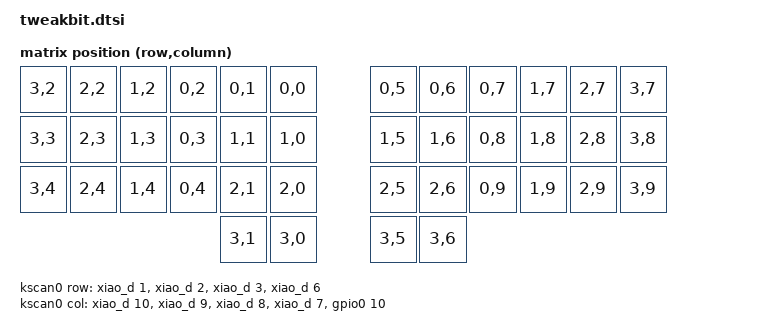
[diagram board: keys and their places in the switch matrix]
#include <dt-bindings/zmk/matrix_transform.h>
#include <input/processors.dtsi>
#include <dt-bindings/zmk/input_transform.h>

/ {
    chosen {
        zmk,kscan = &kscan0;
        zmk,matrix_transform = &default_transform;
    };

    default_transform: keymap_transform_0 {
        compatible = "zmk,matrix-transform";
        columns = <10>;
        rows = <4>;
        map = <
            RC(3,2) RC(2,2) RC(1,2) RC(0,2) RC(0,1) RC(0,0)     RC(0,5) RC(0,6) RC(0,7) RC(1,7) RC(2,7) RC(3,7)
            RC(3,3) RC(2,3) RC(1,3) RC(0,3) RC(1,1) RC(1,0)     RC(1,5) RC(1,6) RC(0,8) RC(1,8) RC(2,8) RC(3,8)
            RC(3,4) RC(2,4) RC(1,4) RC(0,4) RC(2,1) RC(2,0)     RC(2,5) RC(2,6) RC(0,9) RC(1,9) RC(2,9) RC(3,9)
                                            RC(3,1) RC(3,0)     RC(3,5) RC(3,6)
        >;
    };
    
    kscan0: kscan {
        compatible = "zmk,kscan-gpio-matrix";
        label = "KSCAN";
        diode-direction = "col2row";
            row-gpios
                = <&xiao_d 1 (GPIO_ACTIVE_HIGH | GPIO_PULL_DOWN)> 
                , <&xiao_d 2 (GPIO_ACTIVE_HIGH | GPIO_PULL_DOWN)> 
                , <&xiao_d 3 (GPIO_ACTIVE_HIGH | GPIO_PULL_DOWN)> 
                , <&xiao_d 6 (GPIO_ACTIVE_HIGH | GPIO_PULL_DOWN)> 			
                ;
            col-gpios
                = <&xiao_d 10 GPIO_ACTIVE_HIGH>
                , <&xiao_d 9 GPIO_ACTIVE_HIGH> 
                , <&xiao_d 8 GPIO_ACTIVE_HIGH> 
                , <&xiao_d 7 GPIO_ACTIVE_HIGH> 
                , <&gpio0 10 GPIO_ACTIVE_HIGH>
                ; 
    };

    //left hand trackball
    split_inputs {
        #address-cells = <1>;
        #size-cells = <0>;

        trackball_peripheral_split: trackball_peripheral_split@0 {
            compatible = "zmk,input-split";
            reg = <0>;
        };
    };

    trackball_peripheral_listener: trackball_peripheral_listener {
        compatible = "zmk,input-listener";
        status = "disabled";
        device = <&trackball_peripheral_split>;
        input-processors =
            <&zip_xy_transform INPUT_TRANSFORM_XY_SWAP>;       //this gets it to the default installation orientation
            //<&zip_temp_layer 5 500>,                         //オートマウスレイヤーの選択
    };
    
    //right hand trackball
    trackball_central_listener: trackball_central_listener {
        compatible = "zmk,input-listener";
        status = "disabled";
        input-processors = 
            <&zip_xy_transform INPUT_TRANSFORM_XY_SWAP>,        //this gets it to the default installation orientation
            <&zip_xy_scaler 1 7>,                               //感度を1/7倍に変更(スクロールが遅くなる)
            <&zip_xy_to_scroll_mapper>;                         //スクロールモードに変更
            //<&zip_scroll_transform INPUT_TRANSFORM_Y_INVERT>;   //invert vertical scrolling so that the view moves in the same direction as the top of the trackball.
    };
};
